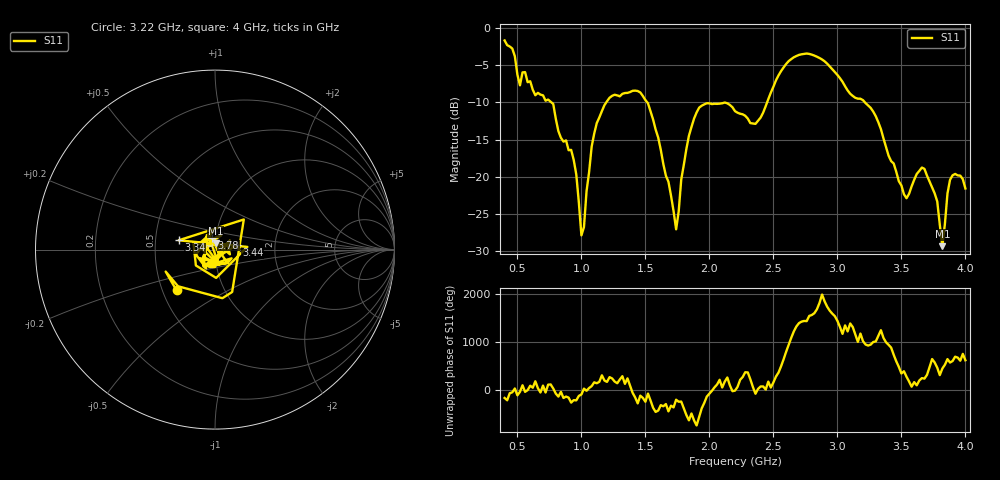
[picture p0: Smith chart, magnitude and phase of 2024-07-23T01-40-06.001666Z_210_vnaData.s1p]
!Created with skrf (http://scikit-rf.org).
# Hz S RI R 50.0
!freq ReS11 ImS11
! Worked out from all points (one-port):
!   181 points, 400 MHz to 4 GHz, reference 50 ohm
!   lowest |S11| = -29.3 dB at 3.82 GHz (marker M1), VSWR 1.07, Z = 50.2 + j3.42 ohm
!   |S11| at or under -10 dB: 765.5 MHz to 1.195 GHz (429.1 MHz wide, 43.8 % of centre); 1.514 GHz to 2.451 GHz (936.5 MHz wide, 47.2 % of centre); 3.215 GHz to end of sweep
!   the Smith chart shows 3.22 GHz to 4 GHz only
!   S11 on the Smith chart (normalised r, x): 3.22 GHz: 0.59, -0.30; 3.34 GHz: 0.66, +0.07; 3.44 GHz: 1.27, +0.06; 3.78 GHz: 0.96, +0.13; 4 GHz: 0.95, -0.16
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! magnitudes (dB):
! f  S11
! 400 MHz  -1.7
! 520 MHz  -7.7
! 560 MHz  -5.9
! 780 MHz  -10.2
! 860 MHz  -15.3
! 940 MHz  -17.7
! 1 GHz  -27.9
! 1.12 GHz  -12.8
! 1.3 GHz  -9.2
! 1.52 GHz  -10.1
! 1.74 GHz  -27.1
! 1.76 GHz  -24.7
! 1.84 GHz  -14.5
! 1.92 GHz  -10.7
! 2.2 GHz  -11.2
! 2.36 GHz  -12.9
! 2.66 GHz  -3.9
! 2.88 GHz  -4.2
! 3.1 GHz  -8.8
! 3.22 GHz  -10.1
! 3.34 GHz  -13.6
! 3.44 GHz  -18.2
! 3.56 GHz  -22.3
! 3.66 GHz  -18.8
! 3.78 GHz  -23.3
! 3.82 GHz  -29.3
! 3.88 GHz  -20.4
! 4 GHz  -21.6
